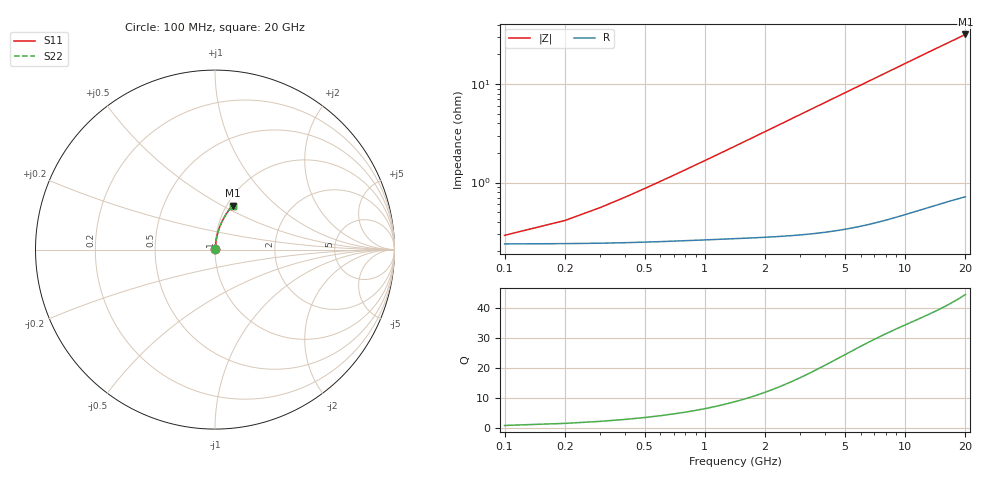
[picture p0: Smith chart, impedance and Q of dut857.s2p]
! Touchstone file exported from HFSS 2026.1.0
!  File:  C:/ffzhzh/LocalFiles/Ansys_Project_Files/temp_train_BSMRDL_857_1783170656_55132.aedt
!  Generated:  09:12:14 PM Jul  4, 2026
!  Design:  BSMRDL
!  Project:  temp_train_BSMRDL_857_1783170656_55132
! Variables:
!  h_bsmrdl = 3.25um
!  h_ox = 20um
!  h_rdl = 5um
!  h_sub = 80um
!  h_tmrdl = 5um
!  h_tsv = 80um
!  h_via = 3um
!  l_bsmrdl = 208.01um
!  l_sub = 608.01um
!  l_tmrdl = 200um
!  m_sub = 200um
!  pitch = 46.97um
!  r_tsv = 6um
!  s_tmrdl = 10um
!  w_bsmrdl = 10.11um
!  w_sub = 500um
!  w_tmrdl = 12um
!  x_tsv_center1 = 206um
!  x_tsv_center2 = 424.12um
!  x_tsv_center3 = 636.12um
!  x_tsv_center4 = 854.24um
!  x_tsv_center5 = 1066.24um
!  x_tsv_center6 = 1284.36um
# GHz S MA R 50.000000
! Terminal data exported
! Port[1] = BSM_RDL1_1_T1
! Port[2] = BSM_RDL1_1_T2
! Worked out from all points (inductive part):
!   200 points, 100 MHz to 20 GHz, reference 50 ohm
!   read as one part in series: L = 264 pH near 500 MHz
!   highest Q = 44.4 at 20 GHz (marker M1), where L = 254 pH
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0.1  0.002791 31.4  0.9976 -0.1  0.9976 -0.1  0.002791 31.4
! Gamma 0 0 0 0
! Port Impedance 50 0 50 0
0.3  0.004985 60.6  0.9976 -0.3  0.9976 -0.3  0.004985 60.6
0.4  0.006293 66.7  0.9975 -0.4  0.9975 -0.4  0.006293 66.7
0.5  0.007642 70.5  0.9975 -0.5  0.9975 -0.5  0.007642 70.5
0.6  0.00901 73.2  0.9975 -0.6  0.9975 -0.6  0.00901 73.2
0.8  0.01177 76.6  0.9974 -0.9  0.9974 -0.9  0.01177 76.6
1.1  0.01594 79.3  0.9972 -1.2  0.9972 -1.2  0.01594 79.3
1.3  0.01872 80.4  0.9972 -1.4  0.9972 -1.4  0.01872 80.4
1.5  0.02152 81.2  0.9971 -1.6  0.9971 -1.6  0.02152 81.2
1.8  0.02571 81.9  0.9969 -1.9  0.9969 -1.9  0.02571 81.9
2.1  0.02991 82.4  0.9968 -2.2  0.9968 -2.2  0.02991 82.4
2.7  0.03831 82.8  0.9964 -2.9  0.9964 -2.9  0.03831 82.8
3.5  0.0495 82.8  0.9958 -3.7  0.9958 -3.7  0.0495 82.8
4.2  0.05926 82.5  0.9951 -4.4  0.9951 -4.4  0.05926 82.5
5  0.07037 82.0  0.9942 -5.3  0.9942 -5.3  0.07037 82.0
5.9  0.0828 81.3  0.993 -6.2  0.993 -6.2  0.0828 81.3
6.8  0.09515 80.6  0.9917 -7.2  0.9917 -7.2  0.09515 80.6
8.3  0.1155 79.2  0.9891 -8.7  0.9891 -8.7  0.1155 79.2
10.1  0.1396 77.5  0.9855 -10.5  0.9855 -10.5  0.1396 77.5
13.4  0.1826 74.4  0.9776 -13.9  0.9776 -13.9  0.1826 74.4
16.7  0.2241 71.3  0.9683 -17.1  0.9683 -17.1  0.2241 71.3
20  0.2639 68.2  0.9577 -20.3  0.9577 -20.3  0.2639 68.2
